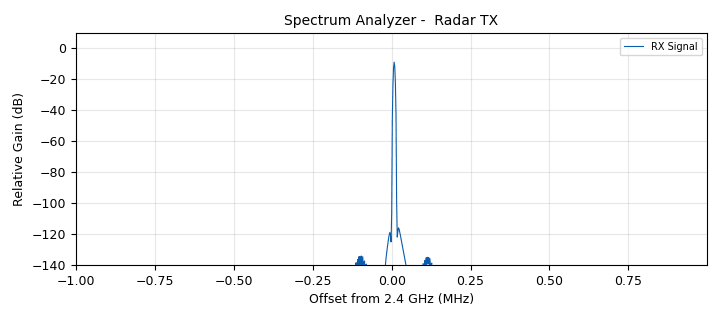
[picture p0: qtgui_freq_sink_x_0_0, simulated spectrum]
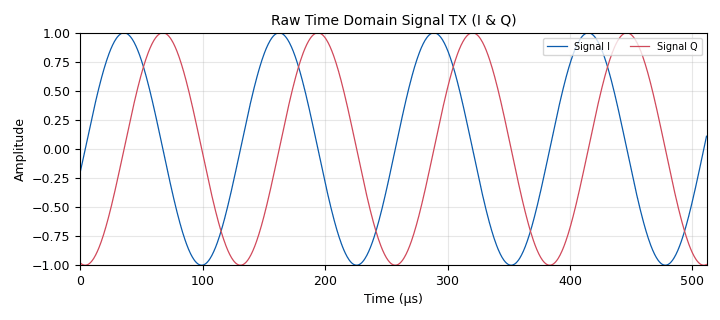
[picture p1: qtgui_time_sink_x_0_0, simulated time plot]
options:
  parameters:
    generate_options: qt_gui
    id: test01
    output_language: python
    title: Not titled yet
  states: {}

blocks:
- name: f_centrale
  id: variable_qtgui_range
  parameters:
    label: Center Frequency (Hz)
    start: '70000000'
    step: '50000000'
    stop: '6000000000'
    value: '2400000000'
  states: {}
- name: gain_rx
  id: variable_qtgui_range
  parameters:
    label: RX Gain (dB)
    start: '0'
    step: '1'
    stop: '70'
    value: '40'
  states: {}
- name: gain_tx
  id: variable_qtgui_range
  parameters:
    label: TX Attenuation (dB)
    start: '-80'
    step: '1'
    stop: '0'
    value: '-20'
  states: {}
- name: samp_rate
  id: variable
  parameters:
    value: '2000000'
  states: {}
- name: sweep_rate
  id: variable_qtgui_range
  parameters:
    label: Sweep Rate (Hz)
    start: '1'
    step: '1'
    stop: '100'
    value: '1'
  states: {}
- name: sweep_width
  id: variable_qtgui_range
  parameters:
    label: Sweep Width (Hz)
    start: '1000000'
    step: '100000'
    stop: '10000000'
    value: '1000000'
  states: {}
- name: analog_sig_source_x_0
  id: analog_sig_source_x
  parameters:
    amp: '1'
    freq: '10'
    offset: '0'
    phase: '0'
    samp_rate: samp_rate
    type: float
    waveform: analog.GR_SAW_WAVE
  states: {}
- name: blocks_vco_c_0
  id: blocks_vco_c
  parameters:
    amplitude: '1'
    samp_rate: samp_rate
    sensitivity: '100000'
  states: {}
- name: iio_pluto_sink_0
  id: iio_pluto_sink
  parameters:
    attenuation1: gain_tx
    bandwidth: '20000000'
    buffer_size: '32768'
    cyclic: 'False'
    filter_source: '''Auto'''
    frequency: f_centrale
    samplerate: samp_rate
    type: fc32
  states: {}
- name: iio_pluto_source_0
  id: iio_pluto_source
  parameters:
    bandwidth: '20000000'
    bbdc: 'True'
    buffer_size: '32768'
    filter_source: '''Auto'''
    frequency: f_centrale
    gain1: '''manual'''
    manual_gain1: gain_rx
    quadrature: 'True'
    rfdc: 'True'
    samplerate: samp_rate
    type: fc32
  states: {}
- name: qtgui_freq_sink_x_0
  id: qtgui_freq_sink_x
  parameters:
    bw: samp_rate
    fc: f_centrale
    fftsize: '1024'
    gui_hint: 2,0,1,1
    label1: RX Signal
    name: '"Spectrum Analyzer -  Radar RX"'
    type: complex
  states: {}
- name: qtgui_freq_sink_x_0_0
  id: qtgui_freq_sink_x
  parameters:
    bw: samp_rate
    fc: f_centrale
    fftsize: '1024'
    gui_hint: 1,0,1,1
    label1: RX Signal
    name: '"Spectrum Analyzer -  Radar TX"'
    type: complex
  states: {}
- name: qtgui_time_sink_x_0
  id: qtgui_time_sink_x
  parameters:
    gui_hint: 2,1,1,1
    label1: ' Signal I'
    label2: Signal Q
    name: '"Raw Time Domain Signal RX (I & Q)"'
    size: '1024'
    srate: samp_rate
    type: complex
  states: {}
- name: qtgui_time_sink_x_0_0
  id: qtgui_time_sink_x
  parameters:
    gui_hint: 1,1,1,1
    label1: ' Signal I'
    label2: Signal Q
    name: '"Raw Time Domain Signal TX (I & Q)"'
    size: '1024'
    srate: samp_rate
    type: complex
  states: {}

connections:
- [analog_sig_source_x_0, '0', blocks_vco_c_0, '0']
- [blocks_vco_c_0, '0', iio_pluto_sink_0, '0']
- [blocks_vco_c_0, '0', qtgui_freq_sink_x_0_0, '0']
- [blocks_vco_c_0, '0', qtgui_time_sink_x_0_0, '0']
- [iio_pluto_source_0, '0', qtgui_freq_sink_x_0, '0']
- [iio_pluto_source_0, '0', qtgui_time_sink_x_0, '0']

metadata:
  file_format: 1
